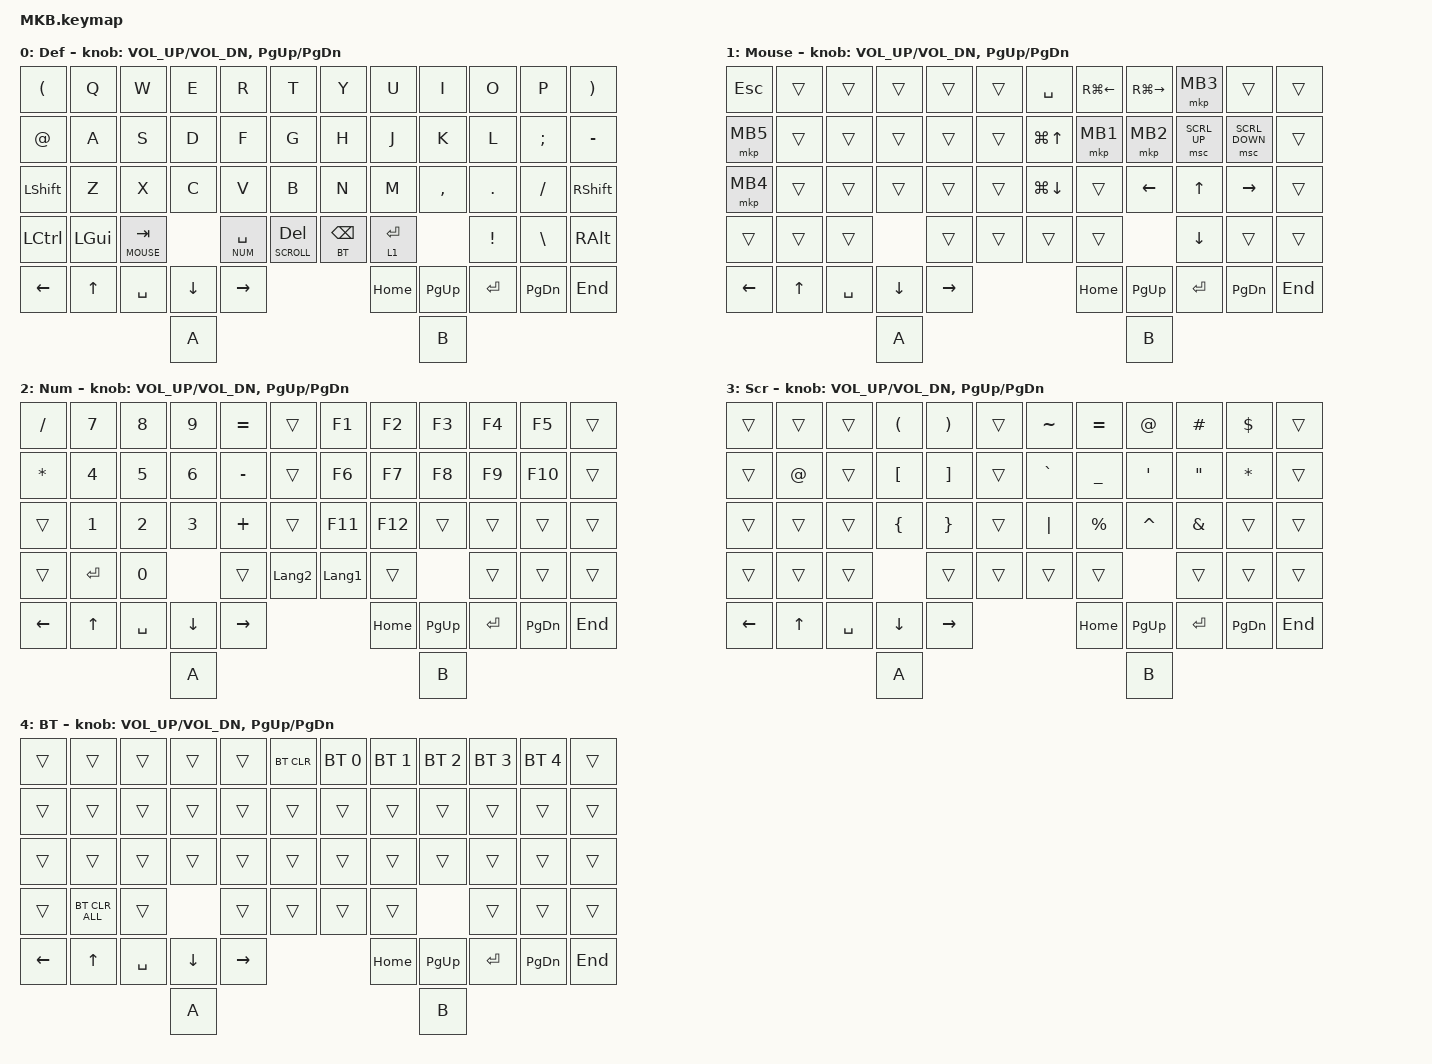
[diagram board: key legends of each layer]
// #include <layout_shift.dtsi>

#include <layout_shift_kp_override.dtsi>
#include <behaviors.dtsi>
#include <dt-bindings/zmk/bt.h>
#include <dt-bindings/zmk/keys.h>
#include <dt-bindings/zmk/pointing.h>

#define DEF 0
#define MOUSE 1
#define NUM 2
#define SCROLL 3
#define BT 4

&mt {
    flavor = "balanced";
    tapping-term-ms = <280>;
    quick-tap-ms = <175>;
    require-prior-idle-ms = <150>;
};

/ {
    keymap {
        compatible = "zmk,keymap";

        default_layer {
            label = "Def";
            bindings = <
&kp LEFT_PARENTHESIS  &kp Q     &kp W          &kp E     &kp R          &kp T               &kp Y             &kp U        &kp I      &kp O      &kp P          &kp RIGHT_PARENTHESIS
&kp AT                &kp A     &kp S          &kp D     &kp F          &kp G               &kp H             &kp J        &kp K      &kp L      &kp SEMI       &kp MINUS
&kp LSHFT             &kp Z     &kp X          &kp C     &kp V          &kp B               &kp N             &kp M        &kp COMMA  &kp DOT    &kp SLASH      &kp RIGHT_SHIFT
&kp LCTRL             &kp LGUI  &lt MOUSE TAB            &lt NUM SPACE  &lt SCROLL DEL      &lt BT BACKSPACE  &lt 1 ENTER             &kp EXCL   &kp BACKSLASH  &kp RIGHT_ALT
&kp LEFT              &kp UP    &kp SPACE      &kp DOWN  &kp RIGHT                                            &kp HOME     &kp PG_UP  &kp ENTER  &kp PG_DN      &kp END
                                               &kp A                                                                       &kp B
            >;

             sensor-bindings = <&inc_dec_kp C_VOL_UP C_VOL_DN &inc_dec_kp PG_UP PG_DN>;
        };

        mouse_layer {
            label = "Mouse";
            bindings = <
&kp ESC   &trans  &trans     &trans    &trans     &trans      &kp SPACE           &kp RG(LEFT_ARROW)  &kp RG(RIGHT)  &mkp MB3      &trans          &trans
&mkp MB5  &trans  &trans     &trans    &trans     &trans      &kp LG(UP_ARROW)    &mkp MB1            &mkp MB2       &msc SCRL_UP  &msc SCRL_DOWN  &trans
&mkp MB4  &trans  &trans     &trans    &trans     &trans      &kp LG(DOWN_ARROW)  &trans              &kp LEFT       &kp UP_ARROW  &kp RIGHT       &trans
&trans    &trans  &trans               &trans     &trans      &trans              &trans                             &kp DOWN      &trans          &trans
&kp LEFT  &kp UP  &kp SPACE  &kp DOWN  &kp RIGHT                                  &kp HOME            &kp PG_UP      &kp ENTER     &kp PG_DN       &kp END
                             &kp A                                                                    &kp B
            >;

             sensor-bindings = <&inc_dec_kp C_VOL_UP C_VOL_DN &inc_dec_kp PG_UP PG_DN>;
        };

        num_layer {
            label = "Num";
            bindings = <
&kp SLASH  &kp NUMBER_7  &kp NUMBER_8  &kp NUMBER_9  &kp EQUAL  &trans              &kp F1          &kp F2    &kp F3     &kp F4     &kp F5     &trans
&kp ASTRK  &kp NUMBER_4  &kp NUMBER_5  &kp NUMBER_6  &kp MINUS  &trans              &kp F6          &kp F7    &kp F8     &kp F9     &kp F10    &trans
&trans     &kp NUMBER_1  &kp NUMBER_2  &kp NUMBER_3  &kp PLUS   &trans              &kp F11         &kp F12   &trans     &trans     &trans     &trans
&trans     &kp ENTER     &kp NUMBER_0                &trans     &kp LANGUAGE_2      &kp LANGUAGE_1  &trans               &trans     &trans     &trans
&kp LEFT   &kp UP        &kp SPACE     &kp DOWN      &kp RIGHT                                      &kp HOME  &kp PG_UP  &kp ENTER  &kp PG_DN  &kp END
                                       &kp A                                                                  &kp B
            >;

             sensor-bindings = <&inc_dec_kp C_VOL_UP C_VOL_DN &inc_dec_kp PG_UP PG_DN>;
        };

        scroll_layer {
            label = "Scr";
            bindings = <
&trans    &trans       &trans     &kp LEFT_PARENTHESIS  &kp RIGHT_PARENTHESIS  &trans      &kp TILDE  &kp EQUAL       &kp AT_SIGN  &kp HASH           &kp DOLLAR    &trans
&trans    &kp AT_SIGN  &trans     &kp LEFT_BRACKET      &kp RIGHT_BRACKET      &trans      &kp GRAVE  &kp UNDERSCORE  &kp SQT      &kp DOUBLE_QUOTES  &kp ASTERISK  &trans
&trans    &trans       &trans     &kp LEFT_BRACE        &kp RIGHT_BRACE        &trans      &kp PIPE   &kp PERCENT     &kp CARET    &kp AMPERSAND      &trans        &trans
&trans    &trans       &trans                           &trans                 &trans      &trans     &trans                       &trans             &trans        &trans
&kp LEFT  &kp UP       &kp SPACE  &kp DOWN              &kp RIGHT                                     &kp HOME        &kp PG_UP    &kp ENTER          &kp PG_DN     &kp END
                                  &kp A                                                                               &kp B
            >;

             sensor-bindings = <&inc_dec_kp C_VOL_UP C_VOL_DN &inc_dec_kp PG_UP PG_DN>;
        };

        bt_layer {
            label = "BT";
            bindings = <
&trans    &trans          &trans     &trans    &trans     &bt BT_CLR      &bt BT_SEL 0  &bt BT_SEL 1  &bt BT_SEL 2  &bt BT_SEL 3  &bt BT_SEL 4  &trans
&trans    &trans          &trans     &trans    &trans     &trans          &trans        &trans        &trans        &trans        &trans        &trans
&trans    &trans          &trans     &trans    &trans     &trans          &trans        &trans        &trans        &trans        &trans        &trans
&trans    &bt BT_CLR_ALL  &trans               &trans     &trans          &trans        &trans                      &trans        &trans        &trans
&kp LEFT  &kp UP          &kp SPACE  &kp DOWN  &kp RIGHT                                &kp HOME      &kp PG_UP     &kp ENTER     &kp PG_DN     &kp END
                                     &kp A                                                            &kp B
            >;

             sensor-bindings = <&inc_dec_kp C_VOL_UP C_VOL_DN &inc_dec_kp PG_UP PG_DN>;
        };
    };
};
